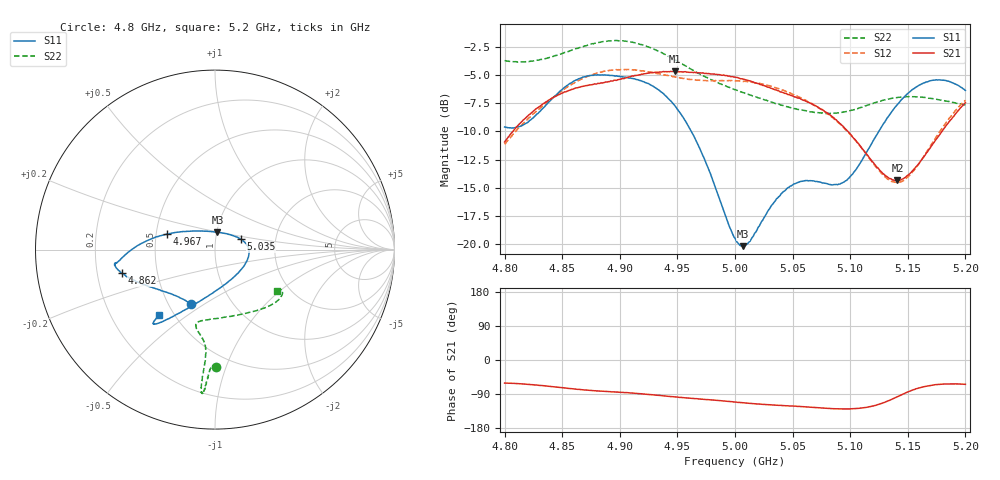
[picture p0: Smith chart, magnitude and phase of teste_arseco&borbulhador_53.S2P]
! Network Analyzer HP8722D
! Hewlett-Packard
! Data name: Linha & Wilkinson
! Saver's name: Rodrigo Anjos
! Comments: Teste da utilização de aquisição
! continua pelo VNA HP8722D
! Time and date: 15/4/2025 16:04
!  Frequency  S11  S21  S12  S22
# HZ  S  MA R 50
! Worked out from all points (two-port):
!   401 points, 4.8 GHz to 5.2 GHz, reference 50 ohm
!   highest |S21| = -4.64 dB at 4.948 GHz (marker M1); lowest = -14.4 dB at 5.141 GHz (marker M2)
!   |S21| within 3 dB of the highest: 4.832 GHz to 5.068 GHz (236.3 MHz wide, 4.77 % of centre); 5.198217 GHz to end of sweep
!   lowest |S11| = -20.2 dB at 5.007 GHz (marker M3), VSWR 1.22, Z = 50.4 + j9.82 ohm
!   |S11| at or under -10 dB: 4.962 GHz to 5.125 GHz (162.6 MHz wide, 3.22 % of centre)
!   |S22| runs from -8.4 to -1.9 dB; largest |S21 - S12| = 0.88
!   S11 on the Smith chart (normalised r, x): 4.8 GHz: 0.65, -0.44; 4.862 GHz: 0.31, -0.11; 4.967 GHz: 0.57, +0.11; 5.035 GHz: 1.33, +0.16; 5.2 GHz: 0.41, -0.39
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4.8e9  0.3313 -114.0  0.2839 -60.9  0.2776 -175.2  0.6548 -89.6
4.819e9  0.3451 -133.9  0.3666 -63.9  0.3542 -173.6  0.6485 -91.2
4.84e9  0.4355 -153.1  0.4416 -69.9  0.4408 -173.8  0.6787 -92.7
4.862e9  0.5363 -165.9  0.4949 -77.0  0.5275 -176.8  0.7408 -93.7
4.867e9  0.5497 -167.8  0.502 -78.5  0.543 -177.5  0.7532 -93.9
4.899e9  0.5573 -172.4  0.5394 -85.0  0.5966 175.6  0.8024 -95.2
4.934e9  0.484 -178.3  0.5815 -93.5  0.5729 171.8  0.7189 -95.7
4.948e9  0.4109 175.1  0.5863 -97.5  0.553 171.9  0.6585 -95.3
4.967e9  0.2827 162.2  0.5783 -102.1  0.535 173.8  0.5791 -95.1
5e9  0.1057 106.3  0.5524 -111.1  0.5321 176.3  0.486 -99.4
5.007e9  0.09741 82.1  0.5417 -112.7  0.5285 176.2  0.4714 -101.1
5.014e9  0.1046 59.9  0.5296 -114.8  0.525 176.1  0.4587 -102.7
5.035e9  0.1552 22.1  0.4851 -119.0  0.4964 175.0  0.4214 -103.9
5.05e9  0.1828 6.2  0.4558 -121.5  0.4639 174.3  0.4032 -100.4
5.067e9  0.1907 -12.0  0.4187 -124.8  0.4211 173.7  0.3866 -91.9
5.085e9  0.1828 -40.5  0.3664 -128.4  0.3643 173.8  0.3812 -78.3
5.097e9  0.1914 -65.6  0.3202 -129.1  0.3187 174.3  0.389 -68.4
5.134e9  0.3744 -116.4  0.1953 -106.5  0.1922 -159.3  0.4422 -43.4
5.141e9  0.4172 -120.4  0.1913 -96.6  0.1876 -148.3  0.4485 -40.3
5.153e9  0.4822 -125.2  0.2082 -80.6  0.2051 -129.8  0.4525 -36.0
5.171e9  0.5339 -129.0  0.2749 -66.6  0.2795 -112.4  0.4433 -31.8
5.2e9  0.4819 -130.6  0.4249 -64.2  0.4358 -106.3  0.4158 -33.6
